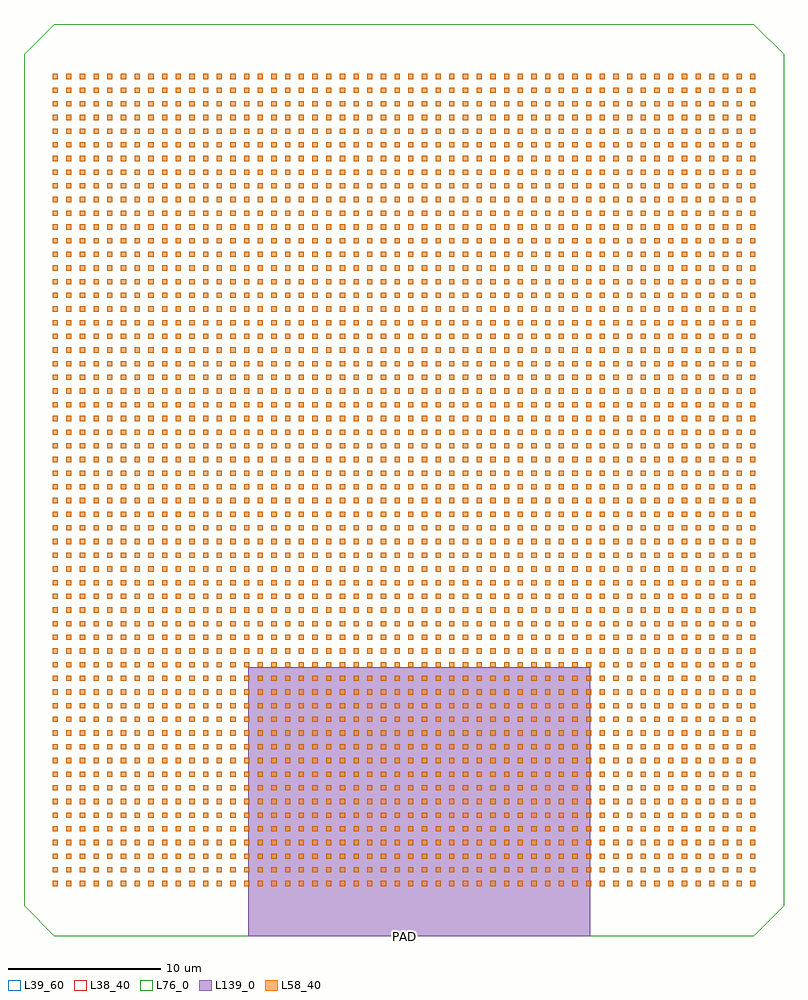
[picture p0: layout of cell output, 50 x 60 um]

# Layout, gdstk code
import gdstk
lib = gdstk.Library(unit=1e-6, precision=1e-09)
def R(c, l, rs):  # rectangles x0, y0, x1, y1
    for r in rs: c.add(gdstk.rectangle(r[:2], r[2:], *l))
def A(c, l, x, y, w, h, nx, ny, dx, dy):  # array of equal rectangles
    R(c, l, [(x+i*dx, y+j*dy, x+i*dx+w, y+j*dy+h) for i in range(nx) for j in range(ny)])
def P(c, l, *ps):  # polygons
    for p in ps: c.add(gdstk.Polygon(p, *l))
L38_40 = (38, 40)
L39_60 = (39, 60)
L58_40 = (58, 40)
L76_0 = (76, 0)
L139_0 = (139, 0)

m9_m8_cdns_756414013000 = lib.new_cell('M9_M8_CDNS_756414013000')
R(m9_m8_cdns_756414013000, L38_40, [(-23.21,-26.81,23.21,26.81)])
R(m9_m8_cdns_756414013000, L39_60, [(-23.43,-27.03,23.43,27.03)])
A(m9_m8_cdns_756414013000, L58_40, -23.12, -26.72, 0.34, 0.34, 52, 60, 0.9, 0.9)

output = lib.new_cell('output')
P(output, L38_40, [(2,0),(0,2),(0,58),(2,60),(48,60),(50,58),(50,2),(48,0)])
P(output, L39_60, [(2,0),(0,2),(0,58),(2,60),(48,60),(50,58),(50,2),(48,0)])
P(output, L76_0, [(2,0),(0,2),(0,58),(2,60),(48,60),(50,58),(50,2),(48,0)])
R(output, L139_0, [(14.75,0,37.26,17.68)])
output.add(gdstk.Reference(m9_m8_cdns_756414013000, (25,30)))
output.add(gdstk.Label('PAD', (25,0), layer=139, texttype=0))

lib.write_gds('output.gds')
